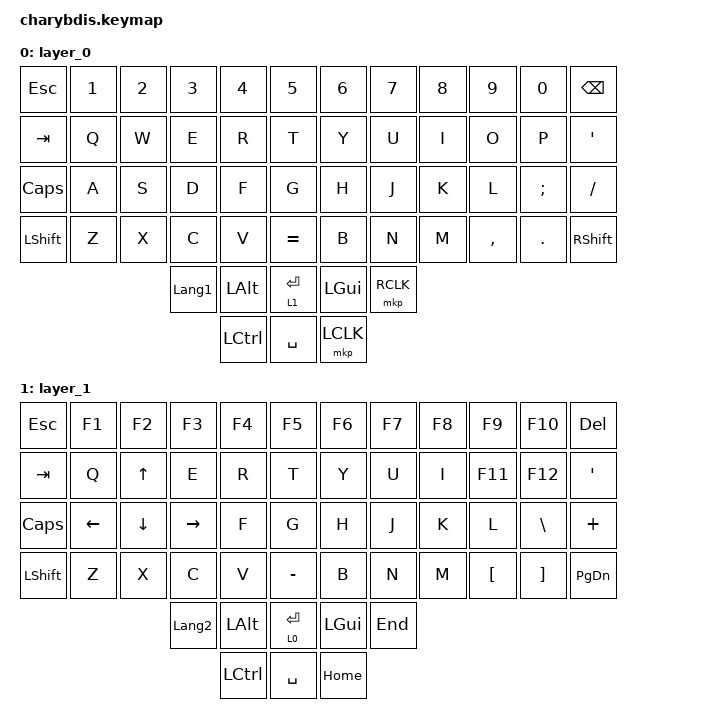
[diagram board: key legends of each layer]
#include <dt-bindings/zmk/mouse.h>
#include <behaviors.dtsi>
#include <dt-bindings/zmk/keys.h>
#include <dt-bindings/zmk/pointing.h>

&lt {
    tapping-term-ms = <200>;
    flavor = "balanced";
    quick-tap-ms = <150>;
};

/ {
    combos { compatible = "zmk,combos"; };

    keymap {
        compatible = "zmk,keymap";

        layer_0 {
            bindings = <
&kp ESC    &kp N1  &kp N2  &kp N3          &kp N4     &kp N5         &kp N6     &kp N7     &kp N8  &kp N9     &kp N0    &kp BSPC
&kp TAB    &kp Q   &kp W   &kp E           &kp R      &kp T          &kp Y      &kp U      &kp I   &kp O      &kp P     &kp APOS
&kp CAPS   &kp A   &kp S   &kp D           &kp F      &kp G          &kp H      &kp J      &kp K   &kp L      &kp SEMI  &kp FSLH
&kp LSHFT  &kp Z   &kp X   &kp C           &kp V      &kp EQUAL      &kp B      &kp N      &kp M   &kp COMMA  &kp DOT   &kp RSHFT
                           &kp LANGUAGE_1  &kp LALT   &lt 1 ENTER    &kp LGUI   &mkp RCLK
                                           &kp LCTRL  &kp SPACE      &mkp LCLK
            >;
        };

        layer_1 {
            bindings = <
&kp ESC    &kp F1    &kp F2    &kp F3          &kp F4     &kp F5         &kp F6    &kp F7   &kp F8  &kp F9    &kp F10   &kp DEL
&kp TAB    &kp Q     &kp UP    &kp E           &kp R      &kp T          &kp Y     &kp U    &kp I   &kp F11   &kp F12   &kp APOS
&kp CAPS   &kp LEFT  &kp DOWN  &kp RIGHT       &kp F      &kp G          &kp H     &kp J    &kp K   &kp L     &kp BSLH  &kp PLUS
&kp LSHFT  &kp Z     &kp X     &kp C           &kp V      &kp MINUS      &kp B     &kp N    &kp M   &kp LBKT  &kp RBKT  &kp PAGE_DOWN
                               &kp LANGUAGE_2  &kp LALT   &lt 0 ENTER    &kp LGUI  &kp END
                                               &kp LCTRL  &kp SPACE      &kp HOME
            >;
        };
    };
};
